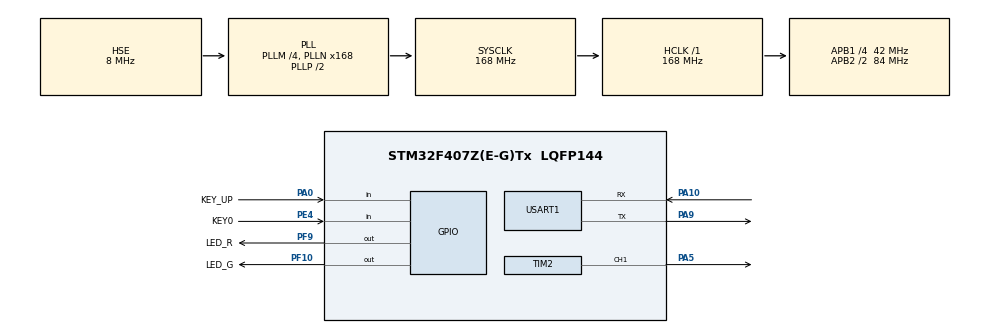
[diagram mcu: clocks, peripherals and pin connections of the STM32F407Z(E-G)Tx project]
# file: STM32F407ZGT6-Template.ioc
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Mcu.Family=STM32F4
Mcu.Name=STM32F407Z(E-G)Tx
Mcu.Package=LQFP144
NVIC.PriorityGroup=NVIC_PRIORITYGROUP_4
NVIC.TIM7_IRQn=true\:0\:0\:false\:false\:true\:true\:true\:true
PA0-WKUP.GPIO_Label=KEY_UP
PA0-WKUP.GPIO_PuPd=GPIO_PULLDOWN
PA0-WKUP.Signal=GPIO_Input
PA10.Mode=Asynchronous
PA10.Signal=USART1_RX
PA13.Mode=Serial_Wire
PA13.Signal=SYS_JTMS-SWDIO
PA14.Mode=Serial_Wire
PA14.Signal=SYS_JTCK-SWCLK
PA5.Signal=S_TIM2_CH1_ETR
PA9.Mode=Asynchronous
PA9.Signal=USART1_TX
PE4.GPIO_Label=KEY0
PE4.GPIO_PuPd=GPIO_PULLDOWN
PE4.Signal=GPIO_Input
PF10.GPIO_Label=LED_G
PF10.GPIO_PuPd=GPIO_PULLUP
PF10.PinState=GPIO_PIN_SET
PF10.Signal=GPIO_Output
PF9.GPIO_Label=LED_R
PF9.GPIO_PuPd=GPIO_PULLUP
PF9.PinState=GPIO_PIN_SET
PF9.Signal=GPIO_Output
PH0-OSC_IN.Mode=HSE-External-Oscillator
PH0-OSC_IN.Signal=RCC_OSC_IN
PH1-OSC_OUT.Mode=HSE-External-Oscillator
PH1-OSC_OUT.Signal=RCC_OSC_OUT
ProjectManager.HeapSize=0x200
ProjectManager.StackSize=0x400
ProjectManager.TargetToolchain=MDK-ARM V5.27
RCC.48MHZClocksFreq_Value=84000000
RCC.AHBFreq_Value=168000000
RCC.APB1CLKDivider=RCC_HCLK_DIV4
RCC.APB1Freq_Value=42000000
RCC.APB1TimFreq_Value=84000000
RCC.APB2CLKDivider=RCC_HCLK_DIV2
RCC.APB2Freq_Value=84000000
RCC.APB2TimFreq_Value=168000000
RCC.CortexFreq_Value=168000000
RCC.FLatency=FLASH_LATENCY_5
RCC.HCLKFreq_Value=168000000
RCC.HSE_VALUE=8000000
RCC.HSI_VALUE=16000000
RCC.LSE_VALUE=32768
RCC.PLLM=4
RCC.PLLN=168
RCC.PLLSourceVirtual=RCC_PLLSOURCE_HSE
RCC.SYSCLKFreq_VALUE=168000000
RCC.SYSCLKSource=RCC_SYSCLKSOURCE_PLLCLK
RCC.VCOOutputFreq_Value=336000000
SH.S_TIM2_CH1_ETR.0=TIM2_CH1,PWM Generation1 CH1
TIM2.Channel-PWM\ Generation1\ CH1=TIM_CHANNEL_1
TIM2.Period=2000-1
TIM2.Prescaler=840-1
TIM2.Pulse-PWM\ Generation1\ CH1=100-1
TIM7.Period=10000-1
TIM7.Prescaler=8400-1
USART1.VirtualMode=VM_ASYNC
VP_TIM2_VS_ClockSourceINT.Mode=Internal
VP_TIM7_VS_ClockSourceINT.Mode=Enable_Timer
board=custom

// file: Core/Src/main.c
/* USER CODE BEGIN Header */
/**
  ******************************************************************************
  * @file           : main.c
  * @brief          : Main program body
  ******************************************************************************
  * @attention
  *
  * Copyright (c) 2023 STMicroelectronics.
  * All rights reserved.
  *
  * This software is licensed under terms that can be found in the LICENSE file
  * in the root directory of this software component.
  * If no LICENSE file comes with this software, it is provided AS-IS.
  *
  ******************************************************************************
  */
/* USER CODE END Header */
#include "main.h"
#include "tim.h"
#include "usart.h"
#include "gpio.h"

void SystemClock_Config(void);

int main(void)
{

  /* MCU Configuration--------------------------------------------------------*/

  /* Reset of all peripherals, Initializes the Flash interface and the Systick. */
  HAL_Init();

  /* Configure the system clock */
  SystemClock_Config();

  /* Initialize all configured peripherals */
  MX_GPIO_Init();
  MX_USART1_UART_Init();
  MX_TIM7_Init();
  MX_TIM2_Init();
  /* USER CODE BEGIN 2 */
	printf("程序设置: PSC=840 Period=2000 定时器10ns计数一次 周期为20ms \r\n");
	printf("程序功能: KEY_UP每次增加0.5ms的占空比  KEY_0每次减少0.5ms的占空比\r\n\r\n");
	printf("控制:0.5ms----50----0度\r\n");
	printf("控制:1.0ms----100---45度\r\n");
	printf("控制:1.5ms----150---90度\r\n");
	printf("控制:2.0ms----200---135度\r\n");
	printf("控制:2.5ms----250---180度\r\n");
	HAL_TIM_PWM_Start(&htim2,TIM_CHANNEL_1);	/* 开启PWM */
  /* USER CODE END 2 */

  /* Infinite loop */
  /* USER CODE BEGIN WHILE */
	uint16_t compare = 100;
  while (1)
  {
		uint8_t key = Get_key_with_undo(20);
		if(key == key_up_down)
		{
			compare += 50;
			__HAL_TIM_SetCompare(&htim2, TIM_CHANNEL_1, compare);
			printf("CCR :%d",__HAL_TIM_GetCompare(&htim2, TIM_CHANNEL_1));
		}
		if(key == key0_down)
		{
			compare -= 50;
			__HAL_TIM_SetCompare(&htim2, TIM_CHANNEL_1, compare);
			printf("CCR :%d",__HAL_TIM_GetCompare(&htim2, TIM_CHANNEL_1));
		}
    /* USER CODE END WHILE */

  }
}

void SystemClock_Config(void)
{
  RCC_OscInitTypeDef RCC_OscInitStruct = {0};
  RCC_ClkInitTypeDef RCC_ClkInitStruct = {0};

  /** Configure the main internal regulator output voltage
  */
  __HAL_RCC_PWR_CLK_ENABLE();
  __HAL_PWR_VOLTAGESCALING_CONFIG(PWR_REGULATOR_VOLTAGE_SCALE1);

  /** Initializes the RCC Oscillators according to the specified parameters
  * in the RCC_OscInitTypeDef structure.
  */
  RCC_OscInitStruct.OscillatorType = RCC_OSCILLATORTYPE_HSE;
  RCC_OscInitStruct.HSEState = RCC_HSE_ON;
  RCC_OscInitStruct.PLL.PLLState = RCC_PLL_ON;
  RCC_OscInitStruct.PLL.PLLSource = RCC_PLLSOURCE_HSE;
  RCC_OscInitStruct.PLL.PLLM = 4;
  RCC_OscInitStruct.PLL.PLLN = 168;
  RCC_OscInitStruct.PLL.PLLP = RCC_PLLP_DIV2;
  RCC_OscInitStruct.PLL.PLLQ = 4;
  if (HAL_RCC_OscConfig(&RCC_OscInitStruct) != HAL_OK)
  {
    Error_Handler();
  }

  /** Initializes the CPU, AHB and APB buses clocks
  */
  RCC_ClkInitStruct.ClockType = RCC_CLOCKTYPE_HCLK|RCC_CLOCKTYPE_SYSCLK
                              |RCC_CLOCKTYPE_PCLK1|RCC_CLOCKTYPE_PCLK2;
  RCC_ClkInitStruct.SYSCLKSource = RCC_SYSCLKSOURCE_PLLCLK;
  RCC_ClkInitStruct.AHBCLKDivider = RCC_SYSCLK_DIV1;
  RCC_ClkInitStruct.APB1CLKDivider = RCC_HCLK_DIV4;
  RCC_ClkInitStruct.APB2CLKDivider = RCC_HCLK_DIV2;

  if (HAL_RCC_ClockConfig(&RCC_ClkInitStruct, FLASH_LATENCY_5) != HAL_OK)
  {
    Error_Handler();
  }
}

/* USER CODE BEGIN 4 */

/* 定时器回调函数 */
void HAL_TIM_PeriodElapsedCallback(TIM_HandleTypeDef *htim)
{
	/* 定时一秒 */
	if(htim == &htim7)
	{
		HAL_GPIO_TogglePin(LED_G_GPIO_Port, LED_G_Pin);
	}
}
/* USER CODE END 4 */

void Error_Handler(void)
{
  __disable_irq();
  while (1)
  {
  }
}
